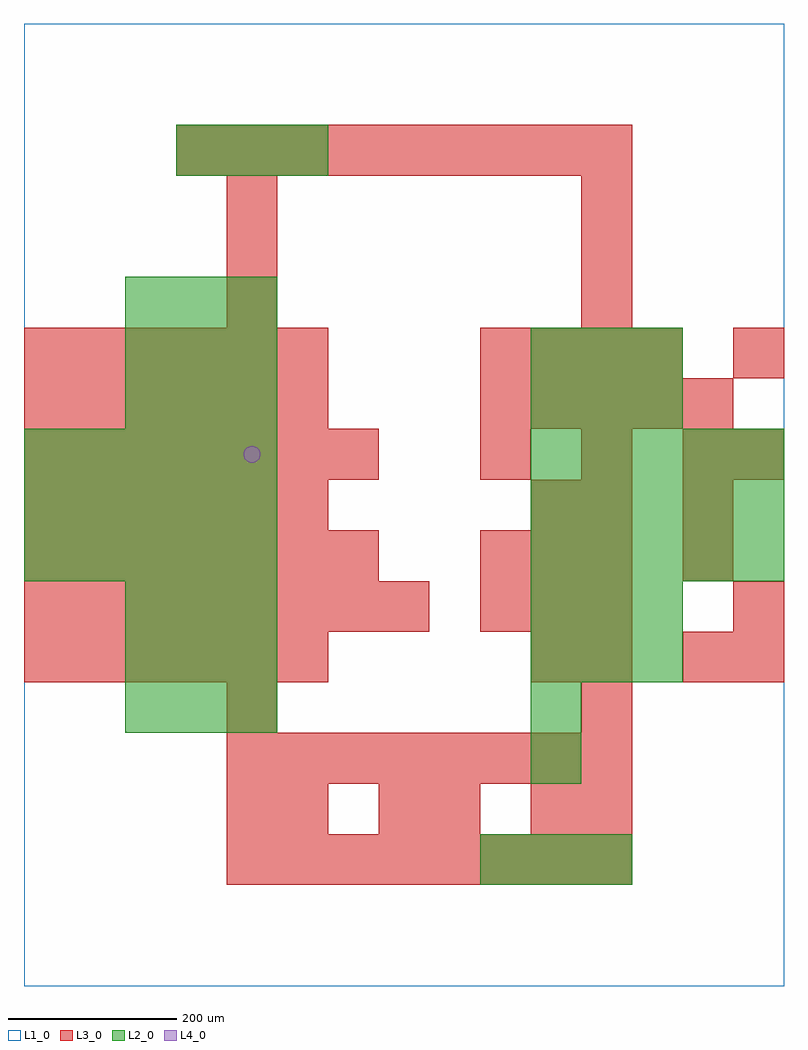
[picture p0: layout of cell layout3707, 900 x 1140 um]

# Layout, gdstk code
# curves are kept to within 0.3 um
import gdstk
lib = gdstk.Library(unit=1e-6, precision=1e-09)
def R(c, l, rs):  # rectangles x0, y0, x1, y1
    for r in rs: c.add(gdstk.rectangle(r[:2], r[2:], *l))
def A(c, l, x, y, w, h, nx, ny, dx, dy):  # array of equal rectangles
    R(c, l, [(x+i*dx, y+j*dy, x+i*dx+w, y+j*dy+h) for i in range(nx) for j in range(ny)])
def P(c, l, *ps):  # polygons
    for p in ps: c.add(gdstk.Polygon(p, *l))
L1_0 = (1, 0)
L2_0 = (2, 0)
L3_0 = (3, 0)
L4_0 = (4, 0)

layout3707 = lib.new_cell('layout3707')
R(layout3707, L1_0, [(0,0,900,1140)])
A(layout3707, L2_0, 540, 120, 60, 60, 3, 1, 60, 0)
A(layout3707, L2_0, 120, 300, 60, 60, 3, 3, 60, 60)
A(layout3707, L2_0, 600, 360, 60, 60, 3, 2, 60, 60)
A(layout3707, L2_0, 0, 480, 60, 60, 5, 3, 60, 60)
A(layout3707, L2_0, 600, 480, 60, 60, 5, 3, 60, 60)
A(layout3707, L2_0, 120, 660, 60, 60, 3, 3, 60, 60)
A(layout3707, L2_0, 600, 660, 60, 60, 3, 2, 60, 60)
A(layout3707, L2_0, 180, 960, 60, 60, 3, 1, 60, 0)
R(layout3707, L2_0, [(600,240,660,300), (600,300,660,360)])
A(layout3707, L3_0, 240, 120, 60, 60, 8, 2, 60, 120)
A(layout3707, L3_0, 600, 180, 60, 60, 1, 3, 0, 180)
A(layout3707, L3_0, 0, 360, 60, 60, 6, 2, 60, 180)
A(layout3707, L3_0, 0, 420, 60, 60, 8, 1, 60, 0)
A(layout3707, L3_0, 540, 420, 60, 60, 3, 2, 60, 60)
A(layout3707, L3_0, 0, 480, 60, 60, 7, 2, 60, 120)
A(layout3707, L3_0, 540, 600, 60, 60, 3, 1, 120, 0)
A(layout3707, L3_0, 0, 660, 60, 60, 6, 2, 60, 60)
A(layout3707, L3_0, 540, 660, 60, 60, 5, 1, 60, 0)
A(layout3707, L3_0, 540, 720, 60, 60, 4, 1, 60, 0)
A(layout3707, L3_0, 240, 780, 60, 60, 1, 3, 0, 60)
A(layout3707, L3_0, 660, 780, 60, 60, 1, 3, 0, 60)
A(layout3707, L3_0, 180, 960, 60, 60, 9, 1, 60, 0)
R(layout3707, L3_0, [(240,180,300,240), (300,180,360,240), (420,180,480,240), (480,180,540,240), (660,180,720,240), (240,300,300,360), (660,300,720,360), (660,360,720,420), (780,360,840,420), (840,360,900,420), (840,420,900,480), (780,480,840,540), (660,540,720,600), (780,540,840,600), (840,600,900,660), (840,720,900,780)])
P(layout3707, L4_0, [(280,630),(279.239,633.827),(277.071,637.071),(273.827,639.239),(270,640),(266.173,639.239),(262.929,637.071),(260.761,633.827),(260,630),(260.761,626.173),(262.929,622.929),(266.173,620.761),(270,620),(273.827,620.761),(277.071,622.929),(279.239,626.173)])

lib.write_gds('layout3707.gds')
